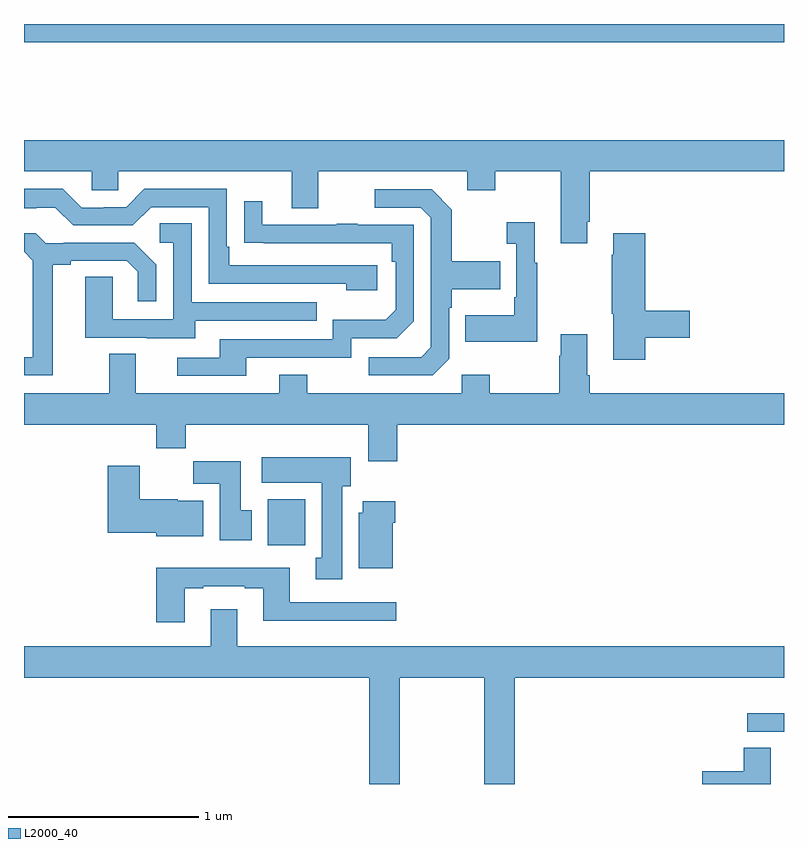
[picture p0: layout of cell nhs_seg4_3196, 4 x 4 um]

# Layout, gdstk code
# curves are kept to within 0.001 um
import gdstk
lib = gdstk.Library(unit=1e-6, precision=1e-09)
def R(c, l, rs):  # rectangles x0, y0, x1, y1
    for r in rs: c.add(gdstk.rectangle(r[:2], r[2:], *l))
def P(c, l, *ps):  # polygons
    for p in ps: c.add(gdstk.Polygon(p, *l))
L2000_40 = (2000, 40)

nhs_seg4_3196 = lib.new_cell('nhs_seg4_3196')
R(nhs_seg4_3196, L2000_40, [(282.807,823.176,283,823.272), (280.283,824.156,280.48,824.398), (279,826.804,283,826.9)])
P(nhs_seg4_3196, L2000_40, [(281.965,825.859),(281.978,825.859),(281.978,826.124),(283,826.124),(283,826.288),(279,826.288),(279,826.124),(279.357,826.124),(279.357,826.026),(279.495,826.026),(279.495,826.124),(280.409,826.124),(280.409,825.93),(280.549,825.93),(280.549,826.124),(281.333,826.124),(281.333,826.025),(281.481,826.025),(281.481,826.124),(281.825,826.124),(281.825,825.747),(281.965,825.747)],
  [(280.858,825.63),(280.081,825.63),(280.081,825.727),(280.068,825.727),(280.068,826.032),(279.633,826.032),(279.537,825.936),(279.419,825.936),(279.419,825.933),(279.303,825.933),(279.203,826.033),(279,826.033),(279,825.929),(279.065,825.929),(279.065,825.933),(279.165,825.933),(279.258,825.84),(279.573,825.84),(279.669,825.936),(279.972,825.936),(279.972,825.534),(280.697,825.534),(280.697,825.5),(280.858,825.5)],
  [(281.238,825.138),(281.238,825.407),(281.251,825.407),(281.251,825.503),(281.507,825.503),(281.507,825.651),(281.251,825.651),(281.251,825.923),(281.145,826.029),(280.845,826.029),(280.845,825.933),(281.088,825.933),(281.142,825.879),(281.142,825.198),(281.091,825.147),(280.815,825.147),(280.815,825.051),(281.151,825.051)],
  [(280.171,825.144),(280.722,825.144),(280.722,825.246),(280.962,825.246),(281.052,825.336),(281.052,825.843),(280.757,825.843),(280.757,825.848),(280.645,825.848),(280.645,825.843),(280.255,825.843),(280.255,825.967),(280.159,825.967),(280.159,825.748),(280.936,825.747),(280.936,825.65),(280.956,825.65),(280.956,825.396),(280.903,825.343),(280.626,825.343),(280.626,825.24),(280.031,825.24),(280.031,825.144),(279.807,825.144),(279.807,825.048),(280.171,825.048)],
  [(281.701,825.643),(281.689,825.643),(281.689,825.856),(281.541,825.856),(281.541,825.743),(281.592,825.743),(281.592,825.463),(281.58,825.463),(281.58,825.367),(281.323,825.367),(281.323,825.227),(281.701,825.227)],
  [(279.901,825.339),(280.541,825.339),(280.541,825.435),(279.882,825.435),(279.882,825.851),(279.714,825.851),(279.714,825.75),(279.786,825.75),(279.786,825.345),(279.468,825.345),(279.468,825.569),(279.323,825.569),(279.323,825.249),(279.647,825.249),(279.647,825.245),(279.901,825.245)],
  [(279.151,825.632),(279.247,825.632),(279.247,825.654),(279.542,825.654),(279.599,825.597),(279.599,825.441),(279.696,825.441),(279.696,825.634),(279.58,825.75),(279.208,825.75),(279.208,825.747),(279.114,825.747),(279.062,825.799),(279,825.799),(279,825.702),(279.047,825.655),(279.047,825.147),(279,825.147),(279,825.051),(279.151,825.051)],
  [(282.269,825.25),(282.505,825.25),(282.505,825.392),(282.269,825.392),(282.269,825.799),(282.101,825.799),(282.101,825.686),(282.094,825.686),(282.094,825.375),(282.101,825.375),(282.101,825.132),(282.269,825.132)],
  [(280.964,824.792),(283,824.792),(283,824.956),(281.978,824.956),(281.978,825.052),(281.965,825.052),(281.965,825.268),(281.825,825.268),(281.825,825.155),(281.818,825.155),(281.818,824.956),(281.451,824.956),(281.451,825.055),(281.304,825.055),(281.304,824.956),(280.491,824.956),(280.491,825.055),(280.343,825.055),(280.343,824.956),(279.589,824.956),(279.589,825.164),(279.449,825.164),(279.449,824.956),(279,824.956),(279,824.792),(279.695,824.792),(279.695,824.668),(279.851,824.668),(279.851,824.792),(280.811,824.792),(280.811,824.598),(280.964,824.598)],
  [(280.675,824.466),(280.72,824.466),(280.72,824.62),(280.251,824.62),(280.251,824.486),(280.568,824.486),(280.568,824.09),(280.535,824.09),(280.535,823.977),(280.675,823.977)],
  [(280.198,824.34),(280.141,824.34),(280.141,824.599),(279.892,824.599),(279.892,824.48),(280.031,824.48),(280.031,824.184),(280.198,824.184)],
  [(279.943,824.392),(279.81,824.392),(279.81,824.398),(279.61,824.398),(279.61,824.575),(279.44,824.575),(279.44,824.222),(279.696,824.222),(279.696,824.204),(279.943,824.204)],
  [(280.942,824.276),(280.955,824.276),(280.955,824.389),(280.784,824.389),(280.784,824.328),(280.763,824.328),(280.763,824.036),(280.942,824.036)],
  [(279.847,823.929),(279.943,823.929),(279.943,823.941),(280.163,823.941),(280.163,823.929),(280.259,823.929),(280.259,823.76),(280.96,823.76),(280.96,823.857),(280.399,823.857),(280.399,824.038),(279.695,824.038),(279.695,823.752),(279.847,823.752)],
  [(280.977,823.46),(281.422,823.46),(281.422,822.9),(281.582,822.9),(281.582,823.46),(283,823.46),(283,823.624),(280.123,823.624),(280.123,823.819),(279.983,823.819),(279.983,823.624),(279,823.624),(279,823.46),(280.817,823.46),(280.817,822.9),(280.977,822.9)],
  [(282.931,823.091),(282.788,823.091),(282.788,822.968),(282.57,822.968),(282.57,822.9),(282.931,822.9)])

lib.write_gds('nhs_seg4_3196.gds')
